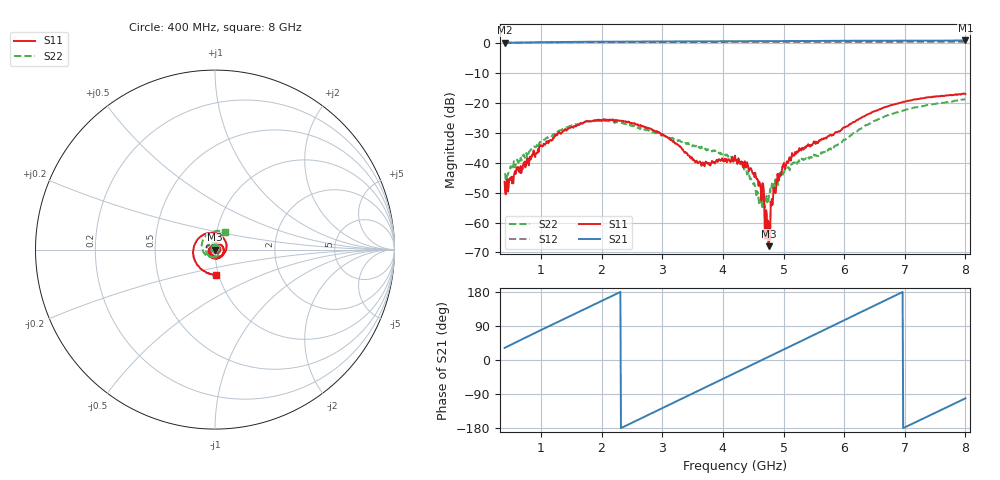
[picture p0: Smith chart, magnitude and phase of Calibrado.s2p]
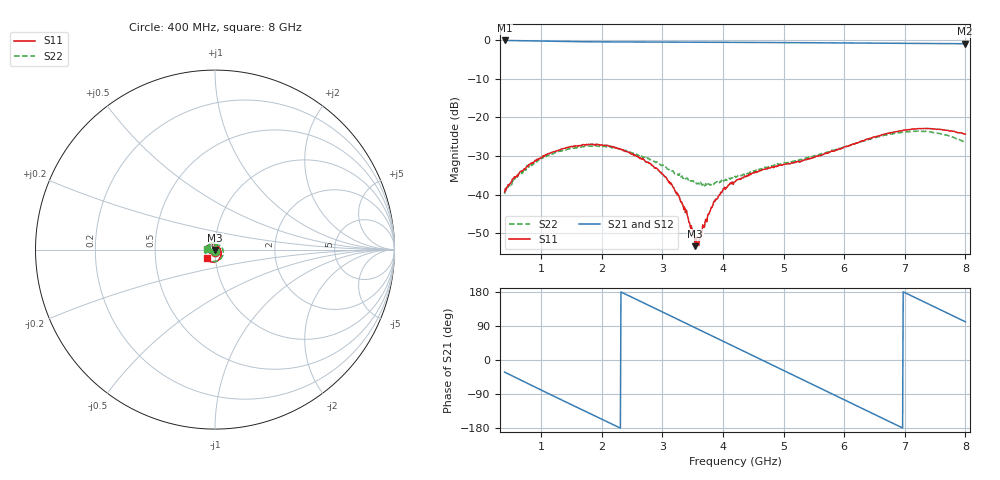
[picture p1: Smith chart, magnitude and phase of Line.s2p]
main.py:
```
import numpy as np

################################        Modules             ################################
#   import and read documents
import sys
sys.path.append("C:/Users/lenovo/Desktop/RF_Parametros_corregido")
from app.doc_process.decoder_s2p import decoder_s2p as decode

from app.doc_process.decoder_s2p import params_complex_destructure as fracc

#   export documents
from app.doc_process.doc_out import doc_out

#   graphs
from app.operations.graphs.smith_chart import smith_chart
from app.operations.graphs.polar_graph import polar_graph
from app.operations.graphs.rect_graph import rect_graph





def delta_inverse(array):
    delta = array[0][1] * array[1][0] - array[0][0] * array[1][1]
    return delta


z0 = 50

y0 = 1 / z0

lines = []

s11 = []


def s_to_t(params):
    delta = delta_inverse(params)
    i11 = 1 / params[1][0]
    i12 = -params[1][1] / params[1][0]
    i21 = params[0][0] / params[1][0]
    i22 = delta / params[1][0]
    array_params = (
        str(i11),
        str(i12),
        str(i21),
        str(i22)
    )
    return array_params

def main_menu():
    inicio = input(
        "Por favor indique en donde quiere graficar: [1 = Gráfica Cartesiana, 2 = Gráfica polar, 3=Carta de Smith ] ")
    if inicio == '1':
        rect_graph("./output/Calibrado.s2p")
    elif inicio == '2':
        polar_graph("./output/Calibrado.s2p")
    elif inicio == '3':
        smith_chart("./output/Calibrado.s2p")
    else:
        print("*******************************************************************************")
        print("             ¡Volvamos a intentarlo!           ")
        main_menu()

def converter(route_thru, route_line, route_reflect1, route_reflect2):
    list_thru = decode(route_thru)
    list_line = decode(route_line)
    list_w1 = decode(route_reflect1)

    lines.append(f"!Nueva Lista de parametros corregidos \n")
    # lines.append("# frec param1 param2  param3  param4 \n")
    lines.append("# Hz S RI R 50 \n")

    for i in range(len(list_thru)):
        ### thru
        thru_params = fracc(list_thru[i])
        frecs = thru_params[0]
        array_thru_s = (
        [[complex(thru_params[1]), complex(thru_params[2])], [complex(thru_params[3]), complex(thru_params[4])]])
        thru_array_np_s = np.array(
            [[complex(thru_params[1]), complex(thru_params[2])], [complex(thru_params[3]), complex(thru_params[4])]])
        thru_t = s_to_t(array_thru_s)
        thru_matriz_t = np.array([[complex(thru_t[0]), complex(thru_t[1])], [complex(thru_t[2]), complex(thru_t[3])]])
        thru_matriz_inverse_t = np.linalg.inv(thru_matriz_t)  # Calculo de Inversa de Thru

        ###     line
        line_params = fracc(list_line[i])
        array_line_s = (
        [[complex(line_params[1]), complex(line_params[2])], [complex(line_params[3]), complex(line_params[4])]])
        line_t = s_to_t(array_line_s)
        line_matriz_t = np.array([[complex(line_t[0]), complex(line_t[1])], [complex(line_t[2]), complex(line_t[3])]])

        ###     reflect1
        w1_params = fracc(list_w1[i])
        # array_w1_s = ([[complex(w1_params[1]), complex(w1_params[2])], [complex(w1_params[3]), complex(w1_params[4])]])
        w1_matriz_np_s = np.array(
            [[complex(w1_params[1]), complex(w1_params[2])], [complex(w1_params[3]), complex(w1_params[4])]])
        # w1_results =  s_to_t(array_w1_s)
        # w1_matriz = np.array([[complex(w1_results[0]), complex(w1_results[1])], [complex(w1_results[2]), complex(w1_results[3])]])

        ###     Operando
        t = line_matriz_t.dot(thru_matriz_inverse_t)

        result = np.roots([t[1][0], t[1][1] - t[0][0], -t[0][1]])

        if abs(result[0]) > abs(result[1]):
            ac = result[0]
            b = result[1]
        else:
            ac = result[1]
            b = result[0]

        ac_inv = 1 / ac

        det_thru_s = np.linalg.det(thru_array_np_s)  # - determinante de S

        d = -det_thru_s

        g = 1 / thru_array_np_s[1][0]

        e = thru_array_np_s[0][0]

        f = -thru_array_np_s[1][1]

        phi = ((ac * f) - d) / (ac - e)

        beta_alpha = (e - b) / (d - (b * f))

        w1 = w1_matriz_np_s[0][0]

        w2 = w1_matriz_np_s[1][1]

        a1 = np.sqrt(
            ((d - b * f) * (b - w1) * (1 + beta_alpha * w2)) / ((1 - ac_inv * e) * (phi + w2) * (ac_inv * w1 - 1)))

        a_est = (b - w1) / (w1 * ac_inv - 1)

        a2 = -a1

        a1_dif = abs(a_est - a1)

        a2_dif = abs(a_est - a2)

        if a2_dif > a1_dif:

            a = a1

        else:

            a = a2

        c = a / ac

        alpha = (d - b * f) / (a - c * e)

        beta = (e - b) / (a - c * e)

        r22_p22 = (g * (ac - e)) / (ac - b)

        num1 = (r22_p22 * (a - b * c) * (alpha - beta * phi) * (
                    alpha * t[0][1] - beta * t[0][0] + b * beta * t[1][0] - b * alpha * t[1][1]))

        den1 = (c * beta * t[1][1] - c * beta * t[0][1] - a * beta * t[1][0] + a * alpha * t[1][1])

        s11_dut = num1 / den1

        num2 = r22_p22 * (a - b * c) * (alpha - beta * phi) * (
                    c * phi * t[0][1] - c * t[0][0] + a * (t[1][0] - phi * t[1][1]))

        s22_dut = num2 / den1

        num3 = r22_p22 * (a - b * c) * (alpha - beta * phi)

        s21_dut = num3 / den1

        num4_01 = r22_p22 * (a - b * c) * (alpha - beta * phi) * (t[0][0]) - phi * t[0][1] - b * t[1][0] + b * phi * \
                  t[1][1]
        num4_02 = (num4_01 / den1) + s11_dut * s22_dut
        s12_dut = num4_02 / s21_dut

        line = [s11_dut, s21_dut, s12_dut, s22_dut]
        l = np.array([x for x in line])
        real = [x.real for x in l]
        imag = [x.imag for x in l]

        line = []
        lines.append(frecs + " ")
        for k in range(len(real)):
            lines.append(f"\t")
            lines.append(str(real[k]) + " ")
            lines.append(f"\t")
            lines.append(str(imag[k]) + " ")
            lines.append(f"\t")

        lines.append("\n")

    doc_out("./output/Calibrado.s2p", lines)
    print("Archivo de Correcciones Generado en /output/")
    main_menu()
    print("Graficando Archivo Corregido  ...")
    #




if __name__ == '__main__':
    # print("Grafica Original de Valores Medidos")
    # smith_chart("./input/ATF38143_VGS_-0.5V_VDS_3.0V.s2p")
    print("Calibrando ...")
    converter("./input/Thru.s2p", "./input/Line.s2p", "./input/Open_P1.s2p", "./input/Open_P2.s2p")
```
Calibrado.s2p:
!Nueva Lista de parametros corregidos
# Hz S RI R 50
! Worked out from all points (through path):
!   801 points, 400 MHz to 8 GHz, reference 50 ohm
!   highest |S21| = 0.81 dB at 8 GHz (marker M1); lowest = 0.1 dB at 409.5 MHz (marker M2)
!   lowest |S11| = -67.9 dB at 4.761 GHz (marker M3), VSWR 1.00, Z = 50 - j0.0177 ohm
!   |S11| at or under -10 dB: start of sweep to end of sweep
!   |S22| runs from -55.5 to -18.8 dB; largest |S21 - S12| = 2.1
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4e8  0.00318 0.00359  0.8547 0.5325  0.9926 0.1529  -0.00166 0.00642
4.095e8  0.00217 0.0024  0.8472 0.5436  0.9926 0.1564  -0.003 0.00573
1.312e9  -0.0307 0.00441  -0.2355 1.006  0.9028 0.4793  0.0214 -0.0272
2.319e9  0.0492 -0.00861  -1.05 -0.00578  0.6868 0.7673  -0.0392 0.0252
3.3165e9  -0.0167 0.00573  -0.2317 -1.033  0.3759 0.9587  0.0189 0.0118
4.2e9  0.0106 0.0077  0.8789 -0.6018  0.06 1.03  -0.00816 0.00708
4.7605e9  -0.000362 -0.000177  1.057 0.1659  -0.1469 1.022  -0.00266 -0.00119
5.017e9  0.00802 0.00175  0.9398 0.5156  -0.2405 1.005  -0.00727 -0.000297
6.005e9  -0.000731 -0.0387  -0.2846 1.047  -0.5764 0.8603  0.0201 -0.0139
6.9835e9  -0.0581 0.0864  -1.086 -0.0184  -0.8389 0.6175  -0.0738 0.0137
8e9  0.00283 -0.1397  -0.2122 -1.077  -1.003 0.2886  0.056 0.0988
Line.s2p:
!Agilent Technologies,N5227A,US51270349,A.09.80.20
!Agilent N5227A: A.09.80.20
!Date: Wednesday, February 17, 2021 19:51:57
!Correction: S11(Full 2 Port(1,2))
!S21(Full 2 Port(1,2))
!S12(Full 2 Port(1,2))
!S22(Full 2 Port(1,2))
!S2P File: Measurements: S11, S21, S12, S22:
# Hz S  RI  R 50
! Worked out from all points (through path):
!   801 points, 400 MHz to 8 GHz, reference 50 ohm
!   highest |S21| = -0.06 dB at 400 MHz (marker M1); lowest = -0.9 dB at 7.99 GHz (marker M2)
!   group delay of S21, straight-line fit = 214 ps
!   lowest |S11| = -53.3 dB at 3.545 GHz (marker M3), VSWR 1.00, Z = 50.1 - j0.186 ohm
!   |S11| at or under -10 dB: start of sweep to end of sweep
!   |S22| runs from -39.8 to -23.5 dB; largest |S21 - S12| = 0.0024
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4e8  -0.00069 -0.0108  0.8421 -0.5257  0.8417 -0.5248  -0.00168 -0.0101
1.236e9  -0.0332 -0.0152  -0.1239 -0.9594  -0.1242 -0.9589  -0.033 -0.0119
2.167e9  -0.026 0.0331  -0.9325 -0.1846  -0.9317 -0.1838  -0.0223 0.0338
3.041e9  0.0113 0.0127  -0.5267 0.7855  -0.5257 0.7849  0.00679 0.0219
3.5445e9  0.0011 -0.00186  0.0825 0.939  0.0833 0.938  0.0036 0.0142
4.2e9  -0.0106 0.0103  0.7743 0.5293  0.7744 0.5279  -0.000779 0.0173
4.941e9  0.0152 0.0188  0.8583 -0.364  0.8567 -0.3644  0.00451 0.0243
5.853e9  0.0341 -0.0151  -0.0562 -0.9217  -0.0579 -0.9207  0.0352 0.0148
6.9265e9  0.00604 -0.0666  -0.9089 -0.0564  -0.9081 -0.055  0.0124 -0.0623
7.9905e9  -0.0418 -0.0442  -0.1797 0.8822  -0.1781 0.882  -0.0473 0.00328
8e9  -0.042 -0.0441  -0.1684 0.8845  -0.1668 0.884  -0.0472 0.00339
